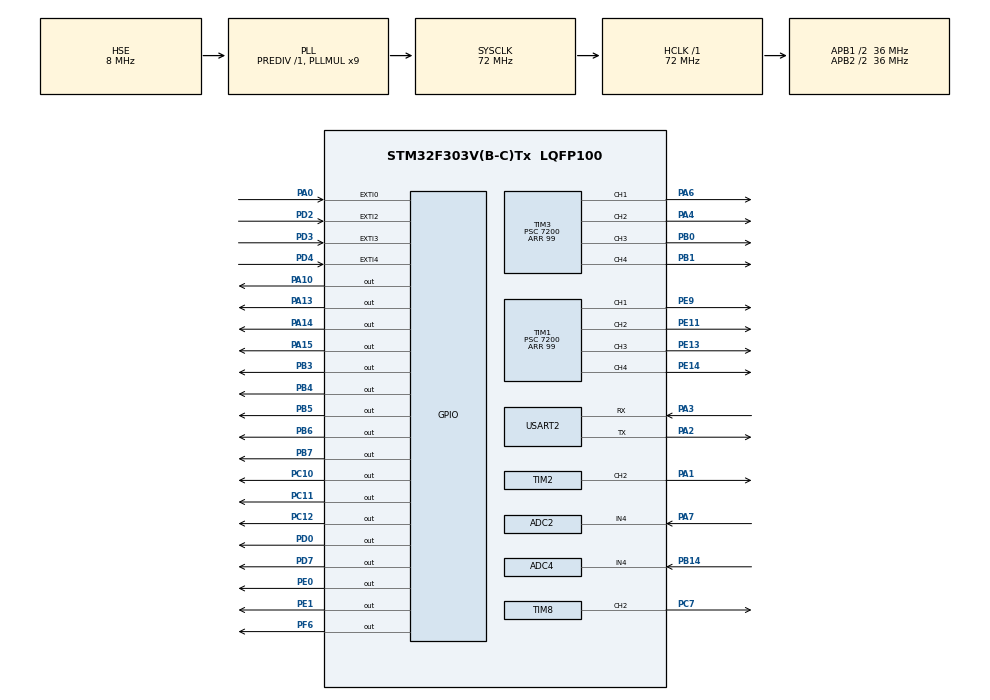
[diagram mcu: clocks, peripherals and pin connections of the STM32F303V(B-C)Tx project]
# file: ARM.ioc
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ADC2.Channel-4\#ChannelRegularConversion=ADC_CHANNEL_4
ADC2.NbrOfConversionFlag=1
ADC2.Offset-4\#ChannelRegularConversion=0
ADC2.OffsetNumber-4\#ChannelRegularConversion=ADC_OFFSET_NONE
ADC2.Rank-4\#ChannelRegularConversion=1
ADC2.Resolution=ADC_RESOLUTION_6B
ADC2.SamplingTime-4\#ChannelRegularConversion=ADC_SAMPLETIME_601CYCLES_5
ADC4.Channel-4\#ChannelRegularConversion=ADC_CHANNEL_4
ADC4.NbrOfConversionFlag=1
ADC4.Offset-4\#ChannelRegularConversion=0
ADC4.OffsetNumber-4\#ChannelRegularConversion=ADC_OFFSET_NONE
ADC4.Rank-4\#ChannelRegularConversion=1
ADC4.Resolution=ADC_RESOLUTION_6B
ADC4.SamplingTime-4\#ChannelRegularConversion=ADC_SAMPLETIME_601CYCLES_5
Mcu.Family=STM32F3
Mcu.Name=STM32F303V(B-C)Tx
Mcu.Package=LQFP100
NVIC.ADC1_2_IRQn=true\:1\:0\:true\:false\:true\:true
NVIC.ADC4_IRQn=true\:1\:0\:true\:false\:true\:true
NVIC.EXTI0_IRQn=true\:1\:0\:true\:false\:true\:true
NVIC.EXTI2_TSC_IRQn=true\:3\:0\:true\:false\:true\:true
NVIC.EXTI3_IRQn=true\:3\:0\:true\:false\:true\:true
NVIC.EXTI4_IRQn=true\:3\:0\:true\:false\:true\:true
NVIC.PriorityGroup=NVIC_PRIORITYGROUP_3
NVIC.TIM2_IRQn=true\:2\:0\:true\:false\:true\:true
NVIC.TIM8_BRK_IRQn=true\:1\:0\:true\:false\:true\:true
NVIC.TIM8_CC_IRQn=true\:1\:0\:true\:false\:true\:true
NVIC.TIM8_TRG_COM_IRQn=true\:1\:0\:true\:false\:true\:true
NVIC.TIM8_UP_IRQn=true\:1\:0\:true\:false\:true\:true
NVIC.USART2_IRQn=true\:1\:0\:true\:false\:true\:true
PA0.GPIO_PuPd=GPIO_PULLDOWN
PA0.Signal=GPXTI0
PA1.Signal=S_TIM2_CH2
PA10.GPIO_PuPd=GPIO_NOPULL
PA10.Signal=GPIO_Output
PA13.GPIO_PuPd=GPIO_NOPULL
PA13.Signal=GPIO_Output
PA14.GPIO_PuPd=GPIO_NOPULL
PA14.Signal=GPIO_Output
PA15.Signal=GPIO_Output
PA2.Mode=Asynchronous
PA2.Signal=USART2_TX
PA3.Mode=Asynchronous
PA3.Signal=USART2_RX
PA4.Signal=S_TIM3_CH2
PA6.Signal=S_TIM3_CH1
PA7.Mode=IN4-Single-Ended
PA7.Signal=ADC2_IN4
PB0.Signal=S_TIM3_CH3
PB1.Signal=S_TIM3_CH4
PB14.Mode=IN4-Single-Ended
PB14.Signal=ADC4_IN4
PB3.Signal=GPIO_Output
PB4.Signal=GPIO_Output
PB5.GPIO_PuPd=GPIO_PULLUP
PB5.Signal=GPIO_Output
PB6.GPIO_PuPd=GPIO_PULLUP
PB6.Signal=GPIO_Output
PB7.GPIO_PuPd=GPIO_PULLUP
PB7.Signal=GPIO_Output
PC10.Signal=GPIO_Output
PC11.Signal=GPIO_Output
PC12.Signal=GPIO_Output
PC7.Signal=S_TIM8_CH2
PD0.Signal=GPIO_Output
PD2.Signal=GPXTI2
PD3.Signal=GPXTI3
PD4.Signal=GPXTI4
PD7.Signal=GPIO_Output
PE0.GPIO_PuPd=GPIO_NOPULL
PE0.Signal=GPIO_Output
PE1.GPIO_PuPd=GPIO_NOPULL
PE1.Signal=GPIO_Output
PE11.Signal=S_TIM1_CH2
PE13.Signal=S_TIM1_CH3
PE14.Signal=S_TIM1_CH4
PE9.Signal=S_TIM1_CH1
PF0-OSC_IN.Mode=HSE-External-Oscillator
PF0-OSC_IN.Signal=RCC_OSC_IN
PF1-OSC_OUT.Mode=HSE-External-Oscillator
PF1-OSC_OUT.Signal=RCC_OSC_OUT
PF6.GPIO_PuPd=GPIO_NOPULL
PF6.Signal=GPIO_Output
ProjectManager.HeapSize=0x200
ProjectManager.StackSize=0x400
ProjectManager.TargetToolchain=MDK-ARM V5
RCC.AHBFreq_Value=72000000
RCC.APB1CLKDivider=RCC_HCLK_DIV2
RCC.APB1Freq_Value=36000000
RCC.APB1TimFreq_Value=72000000
RCC.APB2CLKDivider=RCC_HCLK_DIV2
RCC.APB2Freq_Value=36000000
RCC.APB2TimFreq_Value=72000000
RCC.CortexFreq_Value=72000000
RCC.HCLKFreq_Value=72000000
RCC.HSE_VALUE=8000000
RCC.HSI_VALUE=8000000
RCC.LSE_VALUE=32768
RCC.PLLMUL=RCC_PLL_MUL9
RCC.PLLSourceVirtual=RCC_PLLSOURCE_HSE
RCC.SYSCLKFreq_VALUE=72000000
RCC.SYSCLKSourceVirtual=RCC_SYSCLKSOURCE_PLLCLK
RCC.USBFreq_Value=72000000
RTC.Format=RTC_FORMAT_BIN
SH.S_TIM1_CH1.0=TIM1_CH1,PWM Generation1 CH1
SH.S_TIM1_CH2.0=TIM1_CH2,PWM Generation2 CH2
SH.S_TIM1_CH3.0=TIM1_CH3,PWM Generation3 CH3
SH.S_TIM1_CH4.0=TIM1_CH4,PWM Generation4 CH4
SH.S_TIM2_CH2.0=TIM2_CH2,PWM Generation2 CH2
SH.S_TIM3_CH1.0=TIM3_CH1,PWM Generation1 CH1
SH.S_TIM3_CH2.0=TIM3_CH2,PWM Generation2 CH2
SH.S_TIM3_CH3.0=TIM3_CH3,PWM Generation3 CH3
SH.S_TIM3_CH4.0=TIM3_CH4,PWM Generation4 CH4
SH.S_TIM8_CH2.0=TIM8_CH2,PWM Generation2 CH2
TIM1.Channel-PWM\ Generation1\ CH1=TIM_CHANNEL_1
TIM1.Channel-PWM\ Generation2\ CH2=TIM_CHANNEL_2
TIM1.Channel-PWM\ Generation3\ CH3=TIM_CHANNEL_3
TIM1.Channel-PWM\ Generation4\ CH4=TIM_CHANNEL_4
TIM1.Period=99
TIM1.Prescaler=7200
TIM2.Channel-PWM\ Generation2\ CH2=TIM_CHANNEL_2
TIM2.Period=99
TIM2.Prescaler=36000
TIM3.Channel-PWM\ Generation1\ CH1=TIM_CHANNEL_1
TIM3.Channel-PWM\ Generation2\ CH2=TIM_CHANNEL_2
TIM3.Channel-PWM\ Generation3\ CH3=TIM_CHANNEL_3
TIM3.Channel-PWM\ Generation4\ CH4=TIM_CHANNEL_4
TIM3.Period=99
TIM3.Prescaler=7200
TIM8.Channel-PWM\ Generation2\ CH2=TIM_CHANNEL_2
TIM8.Period=99
TIM8.Prescaler=720
USART2.VirtualMode-Asynchronous=VM_ASYNC
VP_RTC_VS_RTC_Activate.Mode=RTC_Enabled
VP_RTC_VS_RTC_Calendar.Mode=RTC_Calendar
board=STM32F3DISCOVERY

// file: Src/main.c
/**
  ******************************************************************************
  * @file           : main.c
  * @brief          : Main program body
  ******************************************************************************
  ** This notice applies to any and all portions of this file
  * that are not between comment pairs USER CODE BEGIN and
  * USER CODE END. Other portions of this file, whether
  * inserted by the user or by software development tools
  * are owned by their respective copyright owners.
  *
  * COPYRIGHT(c) 2018 STMicroelectronics
  *
  * Redistribution and use in source and binary forms, with or without modification,
  * are permitted provided that the following conditions are met:
  *   1. Redistributions of source code must retain the above copyright notice,
  *      this list of conditions and the following disclaimer.
  *   2. Redistributions in binary form must reproduce the above copyright notice,
  *      this list of conditions and the following disclaimer in the documentation
  *      and/or other materials provided with the distribution.
  *   3. Neither the name of STMicroelectronics nor the names of its contributors
  *      may be used to endorse or promote products derived from this software
  *      without specific prior written permission.
  *
  * THIS SOFTWARE IS PROVIDED BY THE COPYRIGHT HOLDERS AND CONTRIBUTORS "AS IS"
  * AND ANY EXPRESS OR IMPLIED WARRANTIES, INCLUDING, BUT NOT LIMITED TO, THE
  * IMPLIED WARRANTIES OF MERCHANTABILITY AND FITNESS FOR A PARTICULAR PURPOSE ARE
  * DISCLAIMED. IN NO EVENT SHALL THE COPYRIGHT HOLDER OR CONTRIBUTORS BE LIABLE
  * FOR ANY DIRECT, INDIRECT, INCIDENTAL, SPECIAL, EXEMPLARY, OR CONSEQUENTIAL
  * DAMAGES (INCLUDING, BUT NOT LIMITED TO, PROCUREMENT OF SUBSTITUTE GOODS OR
  * SERVICES; LOSS OF USE, DATA, OR PROFITS; OR BUSINESS INTERRUPTION) HOWEVER
  * CAUSED AND ON ANY THEORY OF LIABILITY, WHETHER IN CONTRACT, STRICT LIABILITY,
  * OR TORT (INCLUDING NEGLIGENCE OR OTHERWISE) ARISING IN ANY WAY OUT OF THE USE
  * OF THIS SOFTWARE, EVEN IF ADVISED OF THE POSSIBILITY OF SUCH DAMAGE.
  *
  ******************************************************************************
  */
#include "main.h"
#include "stm32f3xx_hal.h"

/* USER CODE BEGIN Includes */
#include "LiquidCrystal.h"
#include <time.h>
#include <stdio.h>
#include <stdlib.h>
/* USER CODE END Includes */

ADC_HandleTypeDef hadc2;
ADC_HandleTypeDef hadc4;

RTC_HandleTypeDef hrtc;

TIM_HandleTypeDef htim1;
TIM_HandleTypeDef htim2;
TIM_HandleTypeDef htim3;
TIM_HandleTypeDef htim8;

UART_HandleTypeDef huart2;

/* USER CODE BEGIN PV */
/* Private variables ---------------------------------------------------------*/

	RTC_TimeTypeDef timeee;
	RTC_DateTypeDef dateee;
	unsigned char data[16];

	//int teee = 0;
/* USER CODE END PV */

void SystemClock_Config(void);
static void MX_GPIO_Init(void);
static void MX_TIM2_Init(void);
static void MX_USART2_UART_Init(void);
static void MX_RTC_Init(void);
static void MX_TIM1_Init(void);
static void MX_TIM3_Init(void);
static void MX_ADC2_Init(void);
static void MX_ADC4_Init(void);
static void MX_TIM8_Init(void);

void HAL_TIM_MspPostInit(TIM_HandleTypeDef *htim);

/* USER CODE BEGIN PFP */
/* Private function prototypes -----------------------------------------------*/

/* USER CODE END PFP */

int main(void)
{

  /* MCU Configuration----------------------------------------------------------*/

  /* Reset of all peripherals, Initializes the Flash interface and the Systick. */
  HAL_Init();

  /* Configure the system clock */
  SystemClock_Config();

  /* USER CODE BEGIN SysInit */
	LiquidCrystal(GPIOD, GPIO_PIN_8, GPIO_PIN_9, GPIO_PIN_10, GPIO_PIN_11, GPIO_PIN_12, GPIO_PIN_13, GPIO_PIN_14);
  /* USER CODE END SysInit */

  /* Initialize all configured peripherals */
  MX_GPIO_Init();
  MX_TIM2_Init();
  MX_USART2_UART_Init();
  MX_RTC_Init();
  MX_TIM1_Init();
  MX_TIM3_Init();
  MX_ADC2_Init();
  MX_ADC4_Init();
  MX_TIM8_Init();
  /* USER CODE BEGIN 2 */

	HAL_TIM_PWM_Start_IT(&htim2, TIM_CHANNEL_2);
	HAL_TIM_PWM_Start_IT(&htim8, TIM_CHANNEL_2);

//	HAL_UART_Transmit_IT(&huart2, data, sizeof(data));
	HAL_UART_Receive_IT(&huart2, data, sizeof(data));

	HAL_ADC_Start_IT(&hadc2);
	HAL_ADC_Start_IT(&hadc4);

	HAL_RTC_SetTime(&hrtc, &timeee, RTC_FORMAT_BIN);
	HAL_RTC_SetDate(&hrtc, &dateee, RTC_FORMAT_BIN);

	HAL_TIM_PWM_Start(&htim3, TIM_CHANNEL_1);
	HAL_TIM_PWM_Start(&htim3, TIM_CHANNEL_2);
	HAL_TIM_PWM_Start(&htim3, TIM_CHANNEL_3);
	HAL_TIM_PWM_Start(&htim3, TIM_CHANNEL_4);

	HAL_TIM_PWM_Start(&htim1, TIM_CHANNEL_1);
	HAL_TIM_PWM_Start(&htim1, TIM_CHANNEL_2);
	HAL_TIM_PWM_Start(&htim1, TIM_CHANNEL_3);
	HAL_TIM_PWM_Start(&htim1, TIM_CHANNEL_4);

	HAL_GPIO_WritePin(GPIOB, GPIO_PIN_4, GPIO_PIN_SET);
	HAL_GPIO_WritePin(GPIOB, GPIO_PIN_5, GPIO_PIN_SET);
	HAL_GPIO_WritePin(GPIOB, GPIO_PIN_6, GPIO_PIN_SET);
	HAL_GPIO_WritePin(GPIOB, GPIO_PIN_7, GPIO_PIN_SET);

	srand(HAL_GPIO_ReadPin(GPIOC, GPIO_PIN_7));

  /* USER CODE END 2 */

  /* Infinite loop */
  /* USER CODE BEGIN WHILE */
//	enemy_maker();
//	setCursor(0,0);

//	for(int i=0; i<15; i++)
//		if(map[i][0] != " ")
//			print(map[i][0]);
//		else
//			print("a");

//	setCursor(0,1);
//	for(int i=0; i<15; i++)
//		if(map[i][1] != " ")
//				print(map[i][1]);
//			else
//				print("b");

//	show_level();
//	HAL_UART_Receive_IT(&huart2, rec_data, sizeof(rec_data));

  while (1){
//		if(temp_x == car_x){
//			setCursor(car_x, car_y);
//			print(" ");
//			car_x--;
//
//			if(tempp == 1){
//				if(car_y == 0)
//					car_y =1;
//				else if(car_y == 1)
//					car_y =0;
//				tempp =0;
//			}
//
//			setCursor(car_x, car_y);
//			print("8");
//			move_checker();
//		}

  /* USER CODE END WHILE */

  }

}

void SystemClock_Config(void)
{

  RCC_OscInitTypeDef RCC_OscInitStruct;
  RCC_ClkInitTypeDef RCC_ClkInitStruct;
  RCC_PeriphCLKInitTypeDef PeriphClkInit;

    /**Initializes the CPU, AHB and APB busses clocks
    */
  RCC_OscInitStruct.OscillatorType = RCC_OSCILLATORTYPE_LSI|RCC_OSCILLATORTYPE_HSE;
  RCC_OscInitStruct.HSEState = RCC_HSE_ON;
  RCC_OscInitStruct.HSEPredivValue = RCC_HSE_PREDIV_DIV1;
  RCC_OscInitStruct.HSIState = RCC_HSI_ON;
  RCC_OscInitStruct.LSIState = RCC_LSI_ON;
  RCC_OscInitStruct.PLL.PLLState = RCC_PLL_ON;
  RCC_OscInitStruct.PLL.PLLSource = RCC_PLLSOURCE_HSE;
  RCC_OscInitStruct.PLL.PLLMUL = RCC_PLL_MUL9;
  if (HAL_RCC_OscConfig(&RCC_OscInitStruct) != HAL_OK)
  {
    _Error_Handler(__FILE__, __LINE__);
  }

    /**Initializes the CPU, AHB and APB busses clocks
    */
  RCC_ClkInitStruct.ClockType = RCC_CLOCKTYPE_HCLK|RCC_CLOCKTYPE_SYSCLK
                              |RCC_CLOCKTYPE_PCLK1|RCC_CLOCKTYPE_PCLK2;
  RCC_ClkInitStruct.SYSCLKSource = RCC_SYSCLKSOURCE_PLLCLK;
  RCC_ClkInitStruct.AHBCLKDivider = RCC_SYSCLK_DIV1;
  RCC_ClkInitStruct.APB1CLKDivider = RCC_HCLK_DIV2;
  RCC_ClkInitStruct.APB2CLKDivider = RCC_HCLK_DIV2;

  if (HAL_RCC_ClockConfig(&RCC_ClkInitStruct, FLASH_LATENCY_2) != HAL_OK)
  {
    _Error_Handler(__FILE__, __LINE__);
  }

  PeriphClkInit.PeriphClockSelection = RCC_PERIPHCLK_USART2|RCC_PERIPHCLK_RTC
                              |RCC_PERIPHCLK_TIM1|RCC_PERIPHCLK_TIM8
                              |RCC_PERIPHCLK_ADC12|RCC_PERIPHCLK_ADC34;
  PeriphClkInit.Usart2ClockSelection = RCC_USART2CLKSOURCE_PCLK1;
  PeriphClkInit.Adc12ClockSelection = RCC_ADC12PLLCLK_DIV1;
  PeriphClkInit.Adc34ClockSelection = RCC_ADC34PLLCLK_DIV1;
  PeriphClkInit.RTCClockSelection = RCC_RTCCLKSOURCE_LSI;
  PeriphClkInit.Tim1ClockSelection = RCC_TIM1CLK_HCLK;
  PeriphClkInit.Tim8ClockSelection = RCC_TIM8CLK_HCLK;
  if (HAL_RCCEx_PeriphCLKConfig(&PeriphClkInit) != HAL_OK)
  {
    _Error_Handler(__FILE__, __LINE__);
  }

    /**Configure the Systick interrupt time
    */
  HAL_SYSTICK_Config(HAL_RCC_GetHCLKFreq()/1000);

    /**Configure the Systick
    */
  HAL_SYSTICK_CLKSourceConfig(SYSTICK_CLKSOURCE_HCLK);

  /* SysTick_IRQn interrupt configuration */
  HAL_NVIC_SetPriority(SysTick_IRQn, 0, 0);
}

/* ADC2 init function */
static void MX_ADC2_Init(void)
{

  ADC_ChannelConfTypeDef sConfig;

    /**Common config
    */
  hadc2.Instance = ADC2;
  hadc2.Init.ClockPrescaler = ADC_CLOCK_ASYNC_DIV1;
  hadc2.Init.Resolution = ADC_RESOLUTION_6B;
  hadc2.Init.ScanConvMode = ADC_SCAN_DISABLE;
  hadc2.Init.ContinuousConvMode = DISABLE;
  hadc2.Init.DiscontinuousConvMode = DISABLE;
  hadc2.Init.ExternalTrigConvEdge = ADC_EXTERNALTRIGCONVEDGE_NONE;
  hadc2.Init.ExternalTrigConv = ADC_SOFTWARE_START;
  hadc2.Init.DataAlign = ADC_DATAALIGN_RIGHT;
  hadc2.Init.NbrOfConversion = 1;
  hadc2.Init.DMAContinuousRequests = DISABLE;
  hadc2.Init.EOCSelection = ADC_EOC_SINGLE_CONV;
  hadc2.Init.LowPowerAutoWait = DISABLE;
  hadc2.Init.Overrun = ADC_OVR_DATA_OVERWRITTEN;
  if (HAL_ADC_Init(&hadc2) != HAL_OK)
  {
    _Error_Handler(__FILE__, __LINE__);
  }

    /**Configure Regular Channel
    */
  sConfig.Channel = ADC_CHANNEL_4;
  sConfig.Rank = ADC_REGULAR_RANK_1;
  sConfig.SingleDiff = ADC_SINGLE_ENDED;
  sConfig.SamplingTime = ADC_SAMPLETIME_601CYCLES_5;
  sConfig.OffsetNumber = ADC_OFFSET_NONE;
  sConfig.Offset = 0;
  if (HAL_ADC_ConfigChannel(&hadc2, &sConfig) != HAL_OK)
  {
    _Error_Handler(__FILE__, __LINE__);
  }

}

/* ADC4 init function */
static void MX_ADC4_Init(void)
{

  ADC_ChannelConfTypeDef sConfig;

    /**Common config
    */
  hadc4.Instance = ADC4;
  hadc4.Init.ClockPrescaler = ADC_CLOCK_ASYNC_DIV1;
  hadc4.Init.Resolution = ADC_RESOLUTION_6B;
  hadc4.Init.ScanConvMode = ADC_SCAN_DISABLE;
  hadc4.Init.ContinuousConvMode = DISABLE;
  hadc4.Init.DiscontinuousConvMode = DISABLE;
  hadc4.Init.ExternalTrigConvEdge = ADC_EXTERNALTRIGCONVEDGE_NONE;
  hadc4.Init.ExternalTrigConv = ADC_SOFTWARE_START;
  hadc4.Init.DataAlign = ADC_DATAALIGN_RIGHT;
  hadc4.Init.NbrOfConversion = 1;
  hadc4.Init.DMAContinuousRequests = DISABLE;
  hadc4.Init.EOCSelection = ADC_EOC_SINGLE_CONV;
  hadc4.Init.LowPowerAutoWait = DISABLE;
  hadc4.Init.Overrun = ADC_OVR_DATA_OVERWRITTEN;
  if (HAL_ADC_Init(&hadc4) != HAL_OK)
  {
    _Error_Handler(__FILE__, __LINE__);
  }

    /**Configure Regular Channel
    */
  sConfig.Channel = ADC_CHANNEL_4;
  sConfig.Rank = ADC_REGULAR_RANK_1;
  sConfig.SingleDiff = ADC_SINGLE_ENDED;
  sConfig.SamplingTime = ADC_SAMPLETIME_601CYCLES_5;
  sConfig.OffsetNumber = ADC_OFFSET_NONE;
  sConfig.Offset = 0;
  if (HAL_ADC_ConfigChannel(&hadc4, &sConfig) != HAL_OK)
  {
    _Error_Handler(__FILE__, __LINE__);
  }

}

/* RTC init function */
static void MX_RTC_Init(void)
{

  RTC_TimeTypeDef sTime;
  RTC_DateTypeDef sDate;

    /**Initialize RTC Only
    */
  hrtc.Instance = RTC;
if(HAL_RTCEx_BKUPRead(&hrtc, RTC_BKP_DR0) != 0x32F2){
  hrtc.Init.HourFormat = RTC_HOURFORMAT_24;
  hrtc.Init.AsynchPrediv = 127;
  hrtc.Init.SynchPrediv = 255;
  hrtc.Init.OutPut = RTC_OUTPUT_DISABLE;
  hrtc.Init.OutPutPolarity = RTC_OUTPUT_POLARITY_HIGH;
  hrtc.Init.OutPutType = RTC_OUTPUT_TYPE_OPENDRAIN;
  if (HAL_RTC_Init(&hrtc) != HAL_OK)
  {
    _Error_Handler(__FILE__, __LINE__);
  }

    /**Initialize RTC and set the Time and Date
    */
  sTime.Hours = 0;
  sTime.Minutes = 0;
  sTime.Seconds = 0;
  sTime.DayLightSaving = RTC_DAYLIGHTSAVING_NONE;
  sTime.StoreOperation = RTC_STOREOPERATION_RESET;
  if (HAL_RTC_SetTime(&hrtc, &sTime, RTC_FORMAT_BIN) != HAL_OK)
  {
    _Error_Handler(__FILE__, __LINE__);
  }

  sDate.WeekDay = RTC_WEEKDAY_MONDAY;
  sDate.Month = RTC_MONTH_JANUARY;
  sDate.Date = 1;
  sDate.Year = 0;

  if (HAL_RTC_SetDate(&hrtc, &sDate, RTC_FORMAT_BIN) != HAL_OK)
  {
    _Error_Handler(__FILE__, __LINE__);
  }

    HAL_RTCEx_BKUPWrite(&hrtc,RTC_BKP_DR0,0x32F2);
  }

}

/* TIM1 init function */
static void MX_TIM1_Init(void)
{

  TIM_MasterConfigTypeDef sMasterConfig;
  TIM_OC_InitTypeDef sConfigOC;
  TIM_BreakDeadTimeConfigTypeDef sBreakDeadTimeConfig;

  htim1.Instance = TIM1;
  htim1.Init.Prescaler = 7200;
  htim1.Init.CounterMode = TIM_COUNTERMODE_UP;
  htim1.Init.Period = 99;
  htim1.Init.ClockDivision = TIM_CLOCKDIVISION_DIV1;
  htim1.Init.RepetitionCounter = 0;
  htim1.Init.AutoReloadPreload = TIM_AUTORELOAD_PRELOAD_DISABLE;
  if (HAL_TIM_PWM_Init(&htim1) != HAL_OK)
  {
    _Error_Handler(__FILE__, __LINE__);
  }

  sMasterConfig.MasterOutputTrigger = TIM_TRGO_RESET;
  sMasterConfig.MasterOutputTrigger2 = TIM_TRGO2_RESET;
  sMasterConfig.MasterSlaveMode = TIM_MASTERSLAVEMODE_DISABLE;
  if (HAL_TIMEx_MasterConfigSynchronization(&htim1, &sMasterConfig) != HAL_OK)
  {
    _Error_Handler(__FILE__, __LINE__);
  }

  sConfigOC.OCMode = TIM_OCMODE_PWM1;
  sConfigOC.Pulse = 0;
  sConfigOC.OCPolarity = TIM_OCPOLARITY_HIGH;
  sConfigOC.OCNPolarity = TIM_OCNPOLARITY_HIGH;
  sConfigOC.OCFastMode = TIM_OCFAST_DISABLE;
  sConfigOC.OCIdleState = TIM_OCIDLESTATE_RESET;
  sConfigOC.OCNIdleState = TIM_OCNIDLESTATE_RESET;
  if (HAL_TIM_PWM_ConfigChannel(&htim1, &sConfigOC, TIM_CHANNEL_1) != HAL_OK)
  {
    _Error_Handler(__FILE__, __LINE__);
  }

  if (HAL_TIM_PWM_ConfigChannel(&htim1, &sConfigOC, TIM_CHANNEL_2) != HAL_OK)
  {
    _Error_Handler(__FILE__, __LINE__);
  }

  if (HAL_TIM_PWM_ConfigChannel(&htim1, &sConfigOC, TIM_CHANNEL_3) != HAL_OK)
  {
    _Error_Handler(__FILE__, __LINE__);
  }

  if (HAL_TIM_PWM_ConfigChannel(&htim1, &sConfigOC, TIM_CHANNEL_4) != HAL_OK)
  {
    _Error_Handler(__FILE__, __LINE__);
  }

  sBreakDeadTimeConfig.OffStateRunMode = TIM_OSSR_DISABLE;
  sBreakDeadTimeConfig.OffStateIDLEMode = TIM_OSSI_DISABLE;
  sBreakDeadTimeConfig.LockLevel = TIM_LOCKLEVEL_OFF;
  sBreakDeadTimeConfig.DeadTime = 0;
  sBreakDeadTimeConfig.BreakState = TIM_BREAK_DISABLE;
  sBreakDeadTimeConfig.BreakPolarity = TIM_BREAKPOLARITY_HIGH;
  sBreakDeadTimeConfig.BreakFilter = 0;
  sBreakDeadTimeConfig.Break2State = TIM_BREAK2_DISABLE;
  sBreakDeadTimeConfig.Break2Polarity = TIM_BREAK2POLARITY_HIGH;
  sBreakDeadTimeConfig.Break2Filter = 0;
  sBreakDeadTimeConfig.AutomaticOutput = TIM_AUTOMATICOUTPUT_DISABLE;
  if (HAL_TIMEx_ConfigBreakDeadTime(&htim1, &sBreakDeadTimeConfig) != HAL_OK)
  {
    _Error_Handler(__FILE__, __LINE__);
  }

  HAL_TIM_MspPostInit(&htim1);

}

/* TIM2 init function */
static void MX_TIM2_Init(void)
{

  TIM_MasterConfigTypeDef sMasterConfig;
  TIM_OC_InitTypeDef sConfigOC;

  htim2.Instance = TIM2;
  htim2.Init.Prescaler = 36000;
  htim2.Init.CounterMode = TIM_COUNTERMODE_UP;
  htim2.Init.Period = 99;
  htim2.Init.ClockDivision = TIM_CLOCKDIVISION_DIV1;
  htim2.Init.AutoReloadPreload = TIM_AUTORELOAD_PRELOAD_DISABLE;
  if (HAL_TIM_PWM_Init(&htim2) != HAL_OK)
  {
    _Error_Handler(__FILE__, __LINE__);
  }

  sMasterConfig.MasterOutputTrigger = TIM_TRGO_RESET;
  sMasterConfig.MasterSlaveMode = TIM_MASTERSLAVEMODE_DISABLE;
  if (HAL_TIMEx_MasterConfigSynchronization(&htim2, &sMasterConfig) != HAL_OK)
  {
    _Error_Handler(__FILE__, __LINE__);
  }

  sConfigOC.OCMode = TIM_OCMODE_PWM1;
  sConfigOC.Pulse = 0;
  sConfigOC.OCPolarity = TIM_OCPOLARITY_HIGH;
  sConfigOC.OCFastMode = TIM_OCFAST_DISABLE;
  if (HAL_TIM_PWM_ConfigChannel(&htim2, &sConfigOC, TIM_CHANNEL_2) != HAL_OK)
  {
    _Error_Handler(__FILE__, __LINE__);
  }

  HAL_TIM_MspPostInit(&htim2);

}

/* TIM3 init function */
static void MX_TIM3_Init(void)
{

  TIM_MasterConfigTypeDef sMasterConfig;
  TIM_OC_InitTypeDef sConfigOC;

  htim3.Instance = TIM3;
  htim3.Init.Prescaler = 7200;
  htim3.Init.CounterMode = TIM_COUNTERMODE_UP;
  htim3.Init.Period = 99;
  htim3.Init.ClockDivision = TIM_CLOCKDIVISION_DIV1;
  htim3.Init.AutoReloadPreload = TIM_AUTORELOAD_PRELOAD_DISABLE;
  if (HAL_TIM_PWM_Init(&htim3) != HAL_OK)
  {
    _Error_Handler(__FILE__, __LINE__);
  }

  sMasterConfig.MasterOutputTrigger = TIM_TRGO_RESET;
  sMasterConfig.MasterSlaveMode = TIM_MASTERSLAVEMODE_DISABLE;
  if (HAL_TIMEx_MasterConfigSynchronization(&htim3, &sMasterConfig) != HAL_OK)
  {
    _Error_Handler(__FILE__, __LINE__);
  }

  sConfigOC.OCMode = TIM_OCMODE_PWM1;
  sConfigOC.Pulse = 0;
  sConfigOC.OCPolarity = TIM_OCPOLARITY_HIGH;
  sConfigOC.OCFastMode = TIM_OCFAST_DISABLE;
  if (HAL_TIM_PWM_ConfigChannel(&htim3, &sConfigOC, TIM_CHANNEL_1) != HAL_OK)
  {
    _Error_Handler(__FILE__, __LINE__);
  }

  if (HAL_TIM_PWM_ConfigChannel(&htim3, &sConfigOC, TIM_CHANNEL_2) != HAL_OK)
  {
    _Error_Handler(__FILE__, __LINE__);
  }

  if (HAL_TIM_PWM_ConfigChannel(&htim3, &sConfigOC, TIM_CHANNEL_3) != HAL_OK)
  {
    _Error_Handler(__FILE__, __LINE__);
  }

  if (HAL_TIM_PWM_ConfigChannel(&htim3, &sConfigOC, TIM_CHANNEL_4) != HAL_OK)
  {
    _Error_Handler(__FILE__, __LINE__);
  }

  HAL_TIM_MspPostInit(&htim3);

}

/* TIM8 init function */
static void MX_TIM8_Init(void)
{

  TIM_MasterConfigTypeDef sMasterConfig;
  TIM_OC_InitTypeDef sConfigOC;
  TIM_BreakDeadTimeConfigTypeDef sBreakDeadTimeConfig;

  htim8.Instance = TIM8;
  htim8.Init.Prescaler = 720;
  htim8.Init.CounterMode = TIM_COUNTERMODE_UP;
  htim8.Init.Period = 99;
  htim8.Init.ClockDivision = TIM_CLOCKDIVISION_DIV1;
  htim8.Init.RepetitionCounter = 0;
  htim8.Init.AutoReloadPreload = TIM_AUTORELOAD_PRELOAD_DISABLE;
  if (HAL_TIM_PWM_Init(&htim8) != HAL_OK)
  {
    _Error_Handler(__FILE__, __LINE__);
  }

  sMasterConfig.MasterOutputTrigger = TIM_TRGO_RESET;
  sMasterConfig.MasterOutputTrigger2 = TIM_TRGO2_RESET;
  sMasterConfig.MasterSlaveMode = TIM_MASTERSLAVEMODE_DISABLE;
  if (HAL_TIMEx_MasterConfigSynchronization(&htim8, &sMasterConfig) != HAL_OK)
  {
    _Error_Handler(__FILE__, __LINE__);
  }

  sConfigOC.OCMode = TIM_OCMODE_PWM1;
  sConfigOC.Pulse = 0;
  sConfigOC.OCPolarity = TIM_OCPOLARITY_HIGH;
  sConfigOC.OCNPolarity = TIM_OCNPOLARITY_HIGH;
  sConfigOC.OCFastMode = TIM_OCFAST_DISABLE;
  sConfigOC.OCIdleState = TIM_OCIDLESTATE_RESET;
  sConfigOC.OCNIdleState = TIM_OCNIDLESTATE_RESET;
  if (HAL_TIM_PWM_ConfigChannel(&htim8, &sConfigOC, TIM_CHANNEL_2) != HAL_OK)
  {
    _Error_Handler(__FILE__, __LINE__);
  }

  sBreakDeadTimeConfig.OffStateRunMode = TIM_OSSR_DISABLE;
  sBreakDeadTimeConfig.OffStateIDLEMode = TIM_OSSI_DISABLE;
  sBreakDeadTimeConfig.LockLevel = TIM_LOCKLEVEL_OFF;
  sBreakDeadTimeConfig.DeadTime = 0;
  sBreakDeadTimeConfig.BreakState = TIM_BREAK_DISABLE;
  sBreakDeadTimeConfig.BreakPolarity = TIM_BREAKPOLARITY_HIGH;
  sBreakDeadTimeConfig.BreakFilter = 0;
  sBreakDeadTimeConfig.Break2State = TIM_BREAK2_DISABLE;
  sBreakDeadTimeConfig.Break2Polarity = TIM_BREAK2POLARITY_HIGH;
  sBreakDeadTimeConfig.Break2Filter = 0;
  sBreakDeadTimeConfig.AutomaticOutput = TIM_AUTOMATICOUTPUT_DISABLE;
  if (HAL_TIMEx_ConfigBreakDeadTime(&htim8, &sBreakDeadTimeConfig) != HAL_OK)
  {
    _Error_Handler(__FILE__, __LINE__);
  }

  HAL_TIM_MspPostInit(&htim8);

}

/* USART2 init function */
static void MX_USART2_UART_Init(void)
{

  huart2.Instance = USART2;
  huart2.Init.BaudRate = 38400;
  huart2.Init.WordLength = UART_WORDLENGTH_8B;
  huart2.Init.StopBits = UART_STOPBITS_1;
  huart2.Init.Parity = UART_PARITY_NONE;
  huart2.Init.Mode = UART_MODE_TX_RX;
  huart2.Init.HwFlowCtl = UART_HWCONTROL_NONE;
  huart2.Init.OverSampling = UART_OVERSAMPLING_16;
  huart2.Init.OneBitSampling = UART_ONE_BIT_SAMPLE_DISABLE;
  huart2.AdvancedInit.AdvFeatureInit = UART_ADVFEATURE_NO_INIT;
  if (HAL_UART_Init(&huart2) != HAL_OK)
  {
    _Error_Handler(__FILE__, __LINE__);
  }

}

/** Configure pins as
        * Analog
        * Input
        * Output
        * EVENT_OUT
        * EXTI
*/
static void MX_GPIO_Init(void)
{

  GPIO_InitTypeDef GPIO_InitStruct;

  /* GPIO Ports Clock Enable */
  __HAL_RCC_GPIOF_CLK_ENABLE();
  __HAL_RCC_GPIOA_CLK_ENABLE();
  __HAL_RCC_GPIOB_CLK_ENABLE();
  __HAL_RCC_GPIOE_CLK_ENABLE();
  __HAL_RCC_GPIOC_CLK_ENABLE();
  __HAL_RCC_GPIOD_CLK_ENABLE();

  /*Configure GPIO pin Output Level */
  HAL_GPIO_WritePin(GPIOA, GPIO_PIN_10|GPIO_PIN_13|GPIO_PIN_14|GPIO_PIN_15, GPIO_PIN_RESET);

  /*Configure GPIO pin Output Level */
  HAL_GPIO_WritePin(GPIOF, GPIO_PIN_6, GPIO_PIN_RESET);

  /*Configure GPIO pin Output Level */
  HAL_GPIO_WritePin(GPIOC, GPIO_PIN_10|GPIO_PIN_11|GPIO_PIN_12, GPIO_PIN_RESET);

  /*Configure GPIO pin Output Level */
  HAL_GPIO_WritePin(GPIOD, GPIO_PIN_0|GPIO_PIN_7, GPIO_PIN_RESET);

  /*Configure GPIO pin Output Level */
  HAL_GPIO_WritePin(GPIOB, GPIO_PIN_3|GPIO_PIN_4|GPIO_PIN_5|GPIO_PIN_6
                          |GPIO_PIN_7, GPIO_PIN_RESET);

  /*Configure GPIO pin Output Level */
  HAL_GPIO_WritePin(GPIOE, GPIO_PIN_0|GPIO_PIN_1, GPIO_PIN_RESET);

  /*Configure GPIO pin : PA0 */
  GPIO_InitStruct.Pin = GPIO_PIN_0;
  GPIO_InitStruct.Mode = GPIO_MODE_IT_RISING;
  GPIO_InitStruct.Pull = GPIO_PULLDOWN;
  HAL_GPIO_Init(GPIOA, &GPIO_InitStruct);

  /*Configure GPIO pins : PA10 PA13 PA14 PA15 */
  GPIO_InitStruct.Pin = GPIO_PIN_10|GPIO_PIN_13|GPIO_PIN_14|GPIO_PIN_15;
  GPIO_InitStruct.Mode = GPIO_MODE_OUTPUT_PP;
  GPIO_InitStruct.Pull = GPIO_NOPULL;
  GPIO_InitStruct.Speed = GPIO_SPEED_FREQ_LOW;
  HAL_GPIO_Init(GPIOA, &GPIO_InitStruct);

  /*Configure GPIO pin : PF6 */
  GPIO_InitStruct.Pin = GPIO_PIN_6;
  GPIO_InitStruct.Mode = GPIO_MODE_OUTPUT_PP;
  GPIO_InitStruct.Pull = GPIO_NOPULL;
  GPIO_InitStruct.Speed = GPIO_SPEED_FREQ_LOW;
  HAL_GPIO_Init(GPIOF, &GPIO_InitStruct);

  /*Configure GPIO pins : PC10 PC11 PC12 */
  GPIO_InitStruct.Pin = GPIO_PIN_10|GPIO_PIN_11|GPIO_PIN_12;
  GPIO_InitStruct.Mode = GPIO_MODE_OUTPUT_PP;
  GPIO_InitStruct.Pull = GPIO_NOPULL;
  GPIO_InitStruct.Speed = GPIO_SPEED_FREQ_LOW;
  HAL_GPIO_Init(GPIOC, &GPIO_InitStruct);

  /*Configure GPIO pins : PD0 PD7 */
  GPIO_InitStruct.Pin = GPIO_PIN_0|GPIO_PIN_7;
  GPIO_InitStruct.Mode = GPIO_MODE_OUTPUT_PP;
  GPIO_InitStruct.Pull = GPIO_NOPULL;
  GPIO_InitStruct.Speed = GPIO_SPEED_FREQ_LOW;
  HAL_GPIO_Init(GPIOD, &GPIO_InitStruct);

  /*Configure GPIO pins : PD2 PD3 PD4 */
  GPIO_InitStruct.Pin = GPIO_PIN_2|GPIO_PIN_3|GPIO_PIN_4;
  GPIO_InitStruct.Mode = GPIO_MODE_IT_RISING;
  GPIO_InitStruct.Pull = GPIO_NOPULL;
  HAL_GPIO_Init(GPIOD, &GPIO_InitStruct);

  /*Configure GPIO pins : PB3 PB4 */
  GPIO_InitStruct.Pin = GPIO_PIN_3|GPIO_PIN_4;
  GPIO_InitStruct.Mode = GPIO_MODE_OUTPUT_PP;
  GPIO_InitStruct.Pull = GPIO_NOPULL;
  GPIO_InitStruct.Speed = GPIO_SPEED_FREQ_LOW;
  HAL_GPIO_Init(GPIOB, &GPIO_InitStruct);

  /*Configure GPIO pins : PB5 PB6 PB7 */
  GPIO_InitStruct.Pin = GPIO_PIN_5|GPIO_PIN_6|GPIO_PIN_7;
  GPIO_InitStruct.Mode = GPIO_MODE_OUTPUT_PP;
  GPIO_InitStruct.Pull = GPIO_PULLUP;
  GPIO_InitStruct.Speed = GPIO_SPEED_FREQ_LOW;
  HAL_GPIO_Init(GPIOB, &GPIO_InitStruct);

  /*Configure GPIO pins : PE0 PE1 */
  GPIO_InitStruct.Pin = GPIO_PIN_0|GPIO_PIN_1;
  GPIO_InitStruct.Mode = GPIO_MODE_OUTPUT_PP;
  GPIO_InitStruct.Pull = GPIO_NOPULL;
  GPIO_InitStruct.Speed = GPIO_SPEED_FREQ_LOW;
  HAL_GPIO_Init(GPIOE, &GPIO_InitStruct);

  /* EXTI interrupt init*/
  HAL_NVIC_SetPriority(EXTI0_IRQn, 1, 0);
  HAL_NVIC_EnableIRQ(EXTI0_IRQn);

  HAL_NVIC_SetPriority(EXTI2_TSC_IRQn, 3, 0);
  HAL_NVIC_EnableIRQ(EXTI2_TSC_IRQn);

  HAL_NVIC_SetPriority(EXTI3_IRQn, 3, 0);
  HAL_NVIC_EnableIRQ(EXTI3_IRQn);

  HAL_NVIC_SetPriority(EXTI4_IRQn, 3, 0);
  HAL_NVIC_EnableIRQ(EXTI4_IRQn);

}

void _Error_Handler(char *file, int line)
{
  while(1)
  {
  }
}

/************************ (C) COPYRIGHT STMicroelectronics *****END OF FILE****/
